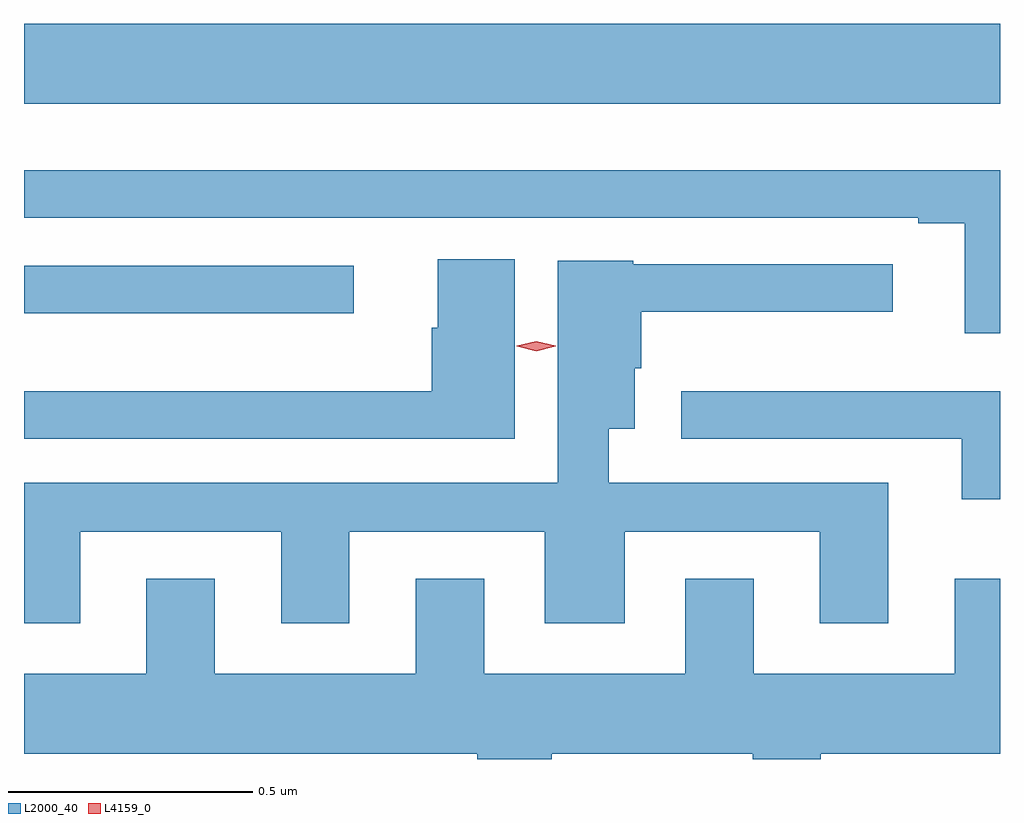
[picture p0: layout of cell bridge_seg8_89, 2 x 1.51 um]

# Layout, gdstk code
import gdstk
lib = gdstk.Library(unit=1e-6, precision=1e-09)
def R(c, l, rs):  # rectangles x0, y0, x1, y1
    for r in rs: c.add(gdstk.rectangle(r[:2], r[2:], *l))
def P(c, l, *ps):  # polygons
    for p in ps: c.add(gdstk.Polygon(p, *l))
L2000_40 = (2000, 40)
L4159_0 = (4159, 0)

bridge_seg8_89 = lib.new_cell('bridge_seg8_89')
R(bridge_seg8_89, L2000_40, [(675.75,1100.087,676.426,1100.184), (675.75,1100.516,677.75,1100.68)])
P(bridge_seg8_89, L2000_40, [(677.75,1100.38),(675.75,1100.38),(675.75,1100.283),(677.582,1100.283),(677.582,1100.271),(677.678,1100.271),(677.678,1100.046),(677.75,1100.046)],
  [(676.756,1100.198),(676.598,1100.198),(676.598,1100.057),(676.586,1100.057),(676.586,1099.927),(675.75,1099.927),(675.75,1099.83),(676.756,1099.83)],
  [(675.865,1099.639),(676.277,1099.639),(676.277,1099.452),(676.417,1099.452),(676.417,1099.639),(676.817,1099.639),(676.817,1099.452),(676.981,1099.452),(676.981,1099.639),(677.381,1099.639),(677.381,1099.452),(677.521,1099.452),(677.521,1099.74),(676.948,1099.74),(676.948,1099.85),(677.002,1099.85),(677.002,1099.974),(677.015,1099.974),(677.015,1100.09),(677.53,1100.09),(677.53,1100.187),(676.998,1100.187),(676.998,1100.194),(676.844,1100.194),(676.844,1099.74),(675.75,1099.74),(675.75,1099.452),(675.865,1099.452)],
  [(677.75,1099.927),(677.097,1099.927),(677.097,1099.83),(677.672,1099.83),(677.672,1099.706),(677.75,1099.706)],
  [(676.831,1099.184),(677.243,1099.184),(677.243,1099.173),(677.383,1099.173),(677.383,1099.184),(677.75,1099.184),(677.75,1099.543),(677.657,1099.543),(677.657,1099.348),(677.245,1099.348),(677.245,1099.543),(677.105,1099.543),(677.105,1099.348),(676.693,1099.348),(676.693,1099.543),(676.553,1099.543),(676.553,1099.348),(676.141,1099.348),(676.141,1099.543),(676.001,1099.543),(676.001,1099.348),(675.75,1099.348),(675.75,1099.184),(676.679,1099.184),(676.679,1099.173),(676.831,1099.173)])
P(bridge_seg8_89, L4159_0, [(676.8,1100.009),(676.76,1100.019),(676.76,1100.019),(676.76,1100.02),(676.8,1100.029),(676.84,1100.02),(676.84,1100.019),(676.84,1100.019)])

lib.write_gds('bridge_seg8_89.gds')
